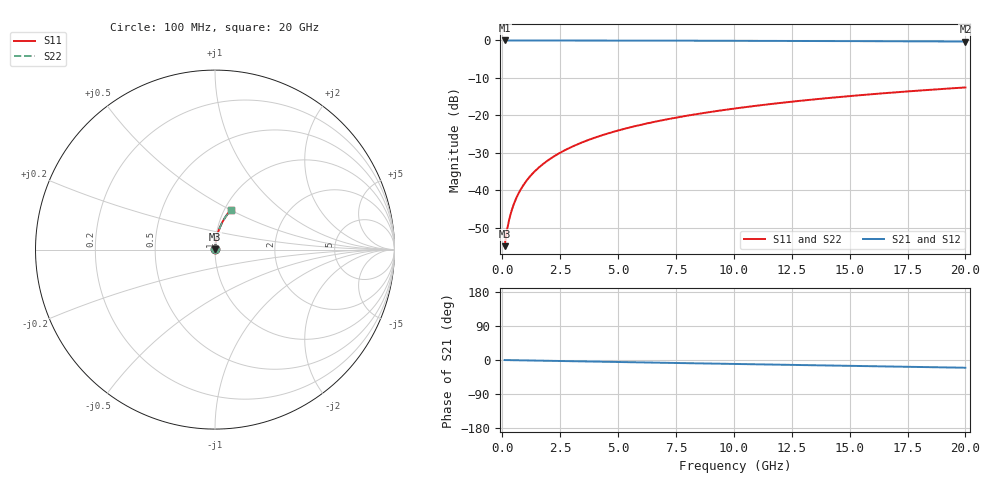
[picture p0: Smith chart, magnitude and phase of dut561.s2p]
! Touchstone file exported from HFSS 2026.1.0
!  File:  C:/ffzhzh/LocalFiles/Ansys_Project_Files/temp_train_TMRDL_561_1783007855_51716.aedt
!  Generated:  11:59:14 PM Jul  2, 2026
!  Design:  TMRDL
!  Project:  temp_train_TMRDL_561_1783007855_51716
! Variables:
!  h_bsmrdl = 2um
!  h_ox = 20um
!  h_rdl = 5um
!  h_sub = 80um
!  h_tmrdl = 4.25um
!  h_tsv = 80um
!  h_via = 3um
!  l_bsmrdl = 300um
!  l_sub = 631.73um
!  l_tmrdl = 231.73um
!  m_sub = 200um
!  pitch = 54.84um
!  r_tsv = 6um
!  s_tmrdl = 10um
!  w_bsmrdl = 18um
!  w_sub = 500um
!  w_tmrdl = 18.26um
!  x_tsv_center1 = 240.86um
!  x_tsv_center2 = 558.86um
!  x_tsv_center3 = 808.85um
!  x_tsv_center4 = 1126.85um
!  x_tsv_center5 = 1376.84um
!  x_tsv_center6 = 1694.84um
# GHz S MA R 50.000000
! Terminal data exported
! Port[1] = TM_RDL1_1_T1
! Port[2] = TM_RDL1_1_T2
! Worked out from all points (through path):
!   200 points, 100 MHz to 20 GHz, reference 50 ohm
!   highest |S21| = -0.01 dB at 100 MHz (marker M1); lowest = -0.3 dB at 20 GHz (marker M2)
!   group delay of S21, straight-line fit = 2.83 ps
!   lowest |S11| = -54.9 dB at 100 MHz (marker M3), VSWR 1.00, Z = 50.1 + j0.134 ohm
!   |S11| at or under -10 dB: start of sweep to end of sweep
!   |S22| runs from -54.9 to -12.5 dB; largest |S21 - S12| = 2.7e-15
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0.1  0.001809 47.7  0.9988 -0.1  0.9988 -0.1  0.001809 47.7
! Gamma 0 0 0 0
! Port Impedance 50 0 50 0
0.2  0.00293 64.3  0.9987 -0.2  0.9987 -0.2  0.002931 64.3
0.3  0.004133 71.3  0.9987 -0.3  0.9987 -0.3  0.004135 71.3
0.4  0.005362 75.2  0.9986 -0.4  0.9986 -0.4  0.005363 75.2
0.5  0.006603 77.7  0.9986 -0.5  0.9986 -0.5  0.006605 77.7
0.7  0.00911 80.5  0.9985 -0.8  0.9985 -0.8  0.00911 80.5
0.8  0.01037 81.4  0.9985 -0.9  0.9985 -0.9  0.01037 81.4
1  0.0129 82.6  0.9984 -1.1  0.9984 -1.1  0.0129 82.6
1.2  0.01543 83.3  0.9984 -1.3  0.9984 -1.3  0.01543 83.3
1.4  0.01796 83.7  0.9983 -1.5  0.9983 -1.5  0.01796 83.7
1.7  0.02176 84.1  0.9982 -1.8  0.9982 -1.8  0.02176 84.1
2  0.02555 84.2  0.998 -2.1  0.998 -2.1  0.02555 84.2
2.7  0.03436 84.1  0.9976 -2.9  0.9976 -2.9  0.03436 84.1
3.5  0.04437 83.7  0.997 -3.7  0.997 -3.7  0.04437 83.7
4.2  0.05308 83.1  0.9964 -4.4  0.9964 -4.4  0.05308 83.1
5  0.06296 82.5  0.9956 -5.3  0.9956 -5.3  0.06296 82.5
6.8  0.08495 80.8  0.9934 -7.2  0.9934 -7.2  0.08495 80.8
8.3  0.103 79.4  0.9913 -8.7  0.9913 -8.7  0.103 79.4
10.1  0.1244 77.7  0.9884 -10.5  0.9884 -10.5  0.1244 77.7
13.4  0.1629 74.6  0.9823 -13.9  0.9823 -13.9  0.1629 74.6
16.7  0.2002 71.4  0.9749 -17.2  0.9749 -17.2  0.2002 71.4
20  0.2361 68.3  0.9664 -20.4  0.9664 -20.4  0.2361 68.3
